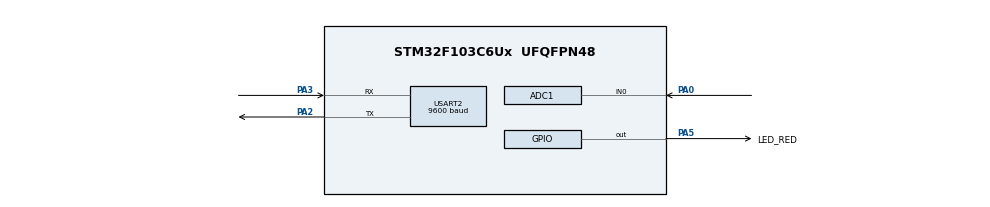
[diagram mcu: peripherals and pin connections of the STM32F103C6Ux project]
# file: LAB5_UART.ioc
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ADC1.Channel-0\#ChannelRegularConversion=ADC_CHANNEL_0
ADC1.ContinuousConvMode=ENABLE
ADC1.NbrOfConversionFlag=1
ADC1.Rank-0\#ChannelRegularConversion=1
ADC1.SamplingTime-0\#ChannelRegularConversion=ADC_SAMPLETIME_1CYCLE_5
ADC1.master=1
Mcu.Family=STM32F1
Mcu.Name=STM32F103C6Ux
Mcu.Package=UFQFPN48
NVIC.PriorityGroup=NVIC_PRIORITYGROUP_4
NVIC.TIM2_IRQn=true\:0\:0\:false\:false\:true\:true\:true\:true
NVIC.USART2_IRQn=true\:0\:0\:false\:false\:true\:true\:true\:true
PA0-WKUP.Signal=ADCx_IN0
PA2.Mode=Asynchronous
PA2.Signal=USART2_TX
PA3.Mode=Asynchronous
PA3.Signal=USART2_RX
PA5.GPIO_Label=LED_RED
PA5.Signal=GPIO_Output
ProjectManager.HeapSize=0x200
ProjectManager.StackSize=0x400
ProjectManager.TargetToolchain=STM32CubeIDE
RCC.APB1Freq_Value=8000000
RCC.APB2Freq_Value=8000000
SH.ADCx_IN0.0=ADC1_IN0,IN0
TIM2.Period=9
TIM2.Prescaler=7999
USART2.BaudRate=9600
USART2.VirtualMode=VM_ASYNC
VP_SYS_VS_ND.Mode=No_Debug
VP_TIM2_VS_ClockSourceINT.Mode=Internal
board=custom

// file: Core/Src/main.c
/* USER CODE BEGIN Header */
/**
  ******************************************************************************
  * @file           : main.c
  * @brief          : Main program body
  ******************************************************************************
  * @attention
  *
  * Copyright (c) 2025 STMicroelectronics.
  * All rights reserved.
  *
  * This software is licensed under terms that can be found in the LICENSE file
  * in the root directory of this software component.
  * If no LICENSE file comes with this software, it is provided AS-IS.
  *
  ******************************************************************************
  */
/* USER CODE END Header */
#include "main.h"

/* USER CODE BEGIN Includes */
#include "fsm.h"
/* USER CODE END Includes */

ADC_HandleTypeDef hadc1;

TIM_HandleTypeDef htim2;

UART_HandleTypeDef huart2;

/* USER CODE BEGIN PV */
uint8_t temp = 0;
/* USER CODE END PV */

void SystemClock_Config(void);
static void MX_GPIO_Init(void);
static void MX_USART2_UART_Init(void);
static void MX_ADC1_Init(void);
static void MX_TIM2_Init(void);

int main(void)
{

  /* MCU Configuration--------------------------------------------------------*/

  /* Reset of all peripherals, Initializes the Flash interface and the Systick. */
  HAL_Init();

  /* Configure the system clock */
  SystemClock_Config();

  /* Initialize all configured peripherals */
  MX_GPIO_Init();
  MX_USART2_UART_Init();
  MX_ADC1_Init();
  MX_TIM2_Init();
  /* USER CODE BEGIN 2 */
  HAL_TIM_Base_Start_IT(&htim2);
  HAL_UART_Receive_IT(&huart2, &temp, 1);
  HAL_ADC_Start(&hadc1);
  /* USER CODE END 2 */

  /* Infinite loop */
  /* USER CODE BEGIN WHILE */
  while (1)
  {
	  if(is_buffer_flag()){
		   command_parser_fsm();
		   reset_flag();
	   }
	  uart_communiation_fsm();
    /* USER CODE END WHILE */

  }
}

void SystemClock_Config(void)
{
  RCC_OscInitTypeDef RCC_OscInitStruct = {0};
  RCC_ClkInitTypeDef RCC_ClkInitStruct = {0};
  RCC_PeriphCLKInitTypeDef PeriphClkInit = {0};

  /** Initializes the RCC Oscillators according to the specified parameters
  * in the RCC_OscInitTypeDef structure.
  */
  RCC_OscInitStruct.OscillatorType = RCC_OSCILLATORTYPE_HSI;
  RCC_OscInitStruct.HSIState = RCC_HSI_ON;
  RCC_OscInitStruct.HSICalibrationValue = RCC_HSICALIBRATION_DEFAULT;
  RCC_OscInitStruct.PLL.PLLState = RCC_PLL_NONE;
  if (HAL_RCC_OscConfig(&RCC_OscInitStruct) != HAL_OK)
  {
    Error_Handler();
  }

  /** Initializes the CPU, AHB and APB buses clocks
  */
  RCC_ClkInitStruct.ClockType = RCC_CLOCKTYPE_HCLK|RCC_CLOCKTYPE_SYSCLK
                              |RCC_CLOCKTYPE_PCLK1|RCC_CLOCKTYPE_PCLK2;
  RCC_ClkInitStruct.SYSCLKSource = RCC_SYSCLKSOURCE_HSI;
  RCC_ClkInitStruct.AHBCLKDivider = RCC_SYSCLK_DIV1;
  RCC_ClkInitStruct.APB1CLKDivider = RCC_HCLK_DIV1;
  RCC_ClkInitStruct.APB2CLKDivider = RCC_HCLK_DIV1;

  if (HAL_RCC_ClockConfig(&RCC_ClkInitStruct, FLASH_LATENCY_0) != HAL_OK)
  {
    Error_Handler();
  }
  PeriphClkInit.PeriphClockSelection = RCC_PERIPHCLK_ADC;
  PeriphClkInit.AdcClockSelection = RCC_ADCPCLK2_DIV2;
  if (HAL_RCCEx_PeriphCLKConfig(&PeriphClkInit) != HAL_OK)
  {
    Error_Handler();
  }
}

static void MX_ADC1_Init(void)
{

  ADC_ChannelConfTypeDef sConfig = {0};

  /** Common config
  */
  hadc1.Instance = ADC1;
  hadc1.Init.ScanConvMode = ADC_SCAN_DISABLE;
  hadc1.Init.ContinuousConvMode = ENABLE;
  hadc1.Init.DiscontinuousConvMode = DISABLE;
  hadc1.Init.ExternalTrigConv = ADC_SOFTWARE_START;
  hadc1.Init.DataAlign = ADC_DATAALIGN_RIGHT;
  hadc1.Init.NbrOfConversion = 1;
  if (HAL_ADC_Init(&hadc1) != HAL_OK)
  {
    Error_Handler();
  }

  /** Configure Regular Channel
  */
  sConfig.Channel = ADC_CHANNEL_0;
  sConfig.Rank = ADC_REGULAR_RANK_1;
  sConfig.SamplingTime = ADC_SAMPLETIME_1CYCLE_5;
  if (HAL_ADC_ConfigChannel(&hadc1, &sConfig) != HAL_OK)
  {
    Error_Handler();
  }

}

static void MX_TIM2_Init(void)
{

  TIM_ClockConfigTypeDef sClockSourceConfig = {0};
  TIM_MasterConfigTypeDef sMasterConfig = {0};

  htim2.Instance = TIM2;
  htim2.Init.Prescaler = 7999;
  htim2.Init.CounterMode = TIM_COUNTERMODE_UP;
  htim2.Init.Period = 9;
  htim2.Init.ClockDivision = TIM_CLOCKDIVISION_DIV1;
  htim2.Init.AutoReloadPreload = TIM_AUTORELOAD_PRELOAD_DISABLE;
  if (HAL_TIM_Base_Init(&htim2) != HAL_OK)
  {
    Error_Handler();
  }
  sClockSourceConfig.ClockSource = TIM_CLOCKSOURCE_INTERNAL;
  if (HAL_TIM_ConfigClockSource(&htim2, &sClockSourceConfig) != HAL_OK)
  {
    Error_Handler();
  }
  sMasterConfig.MasterOutputTrigger = TIM_TRGO_RESET;
  sMasterConfig.MasterSlaveMode = TIM_MASTERSLAVEMODE_DISABLE;
  if (HAL_TIMEx_MasterConfigSynchronization(&htim2, &sMasterConfig) != HAL_OK)
  {
    Error_Handler();
  }

}

static void MX_USART2_UART_Init(void)
{

  huart2.Instance = USART2;
  huart2.Init.BaudRate = 9600;
  huart2.Init.WordLength = UART_WORDLENGTH_8B;
  huart2.Init.StopBits = UART_STOPBITS_1;
  huart2.Init.Parity = UART_PARITY_NONE;
  huart2.Init.Mode = UART_MODE_TX_RX;
  huart2.Init.HwFlowCtl = UART_HWCONTROL_NONE;
  huart2.Init.OverSampling = UART_OVERSAMPLING_16;
  if (HAL_UART_Init(&huart2) != HAL_OK)
  {
    Error_Handler();
  }

}

static void MX_GPIO_Init(void)
{
  GPIO_InitTypeDef GPIO_InitStruct = {0};

  /* GPIO Ports Clock Enable */
  __HAL_RCC_GPIOA_CLK_ENABLE();

  /*Configure GPIO pin Output Level */
  HAL_GPIO_WritePin(LED_RED_GPIO_Port, LED_RED_Pin, GPIO_PIN_RESET);

  /*Configure GPIO pin : LED_RED_Pin */
  GPIO_InitStruct.Pin = LED_RED_Pin;
  GPIO_InitStruct.Mode = GPIO_MODE_OUTPUT_PP;
  GPIO_InitStruct.Pull = GPIO_NOPULL;
  GPIO_InitStruct.Speed = GPIO_SPEED_FREQ_LOW;
  HAL_GPIO_Init(LED_RED_GPIO_Port, &GPIO_InitStruct);

}

/* USER CODE BEGIN 4 */
// ------------------TIMER INTERRUPT----------------------
void HAL_TIM_PeriodElapsedCallback(TIM_HandleTypeDef *htim){
	clock();
}
// ------------------UART INTERRUPT----------------------

void HAL_UART_RxCpltCallback(UART_HandleTypeDef *huart) {
	if (huart->Instance == USART2) {
//		HAL_UART_Transmit(&huart2, &temp, 1, HAL_MAX_DELAY); //loopback to display on terminal
		get_byte(temp);
		HAL_UART_Receive_IT(&huart2, &temp, 1);
	}
}
/* USER CODE END 4 */

void Error_Handler(void)
{
  __disable_irq();
  while (1)
  {
  }
}
